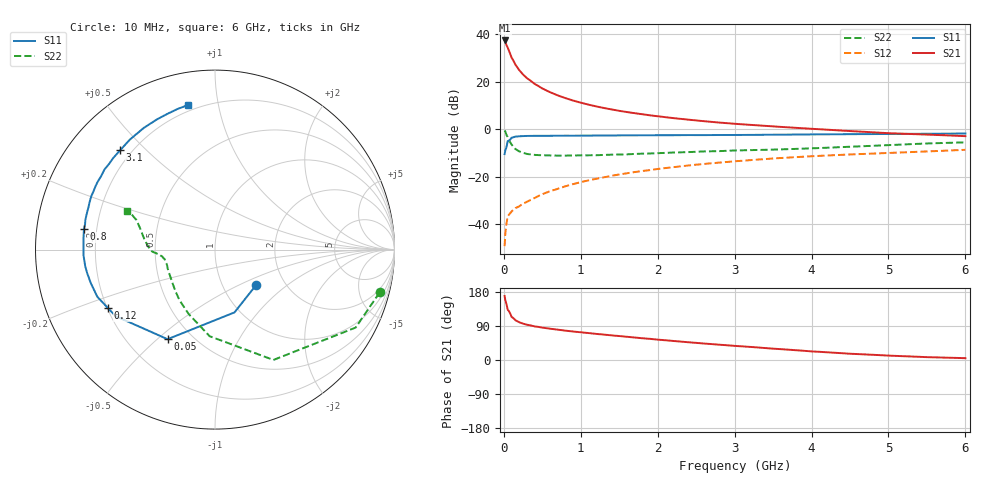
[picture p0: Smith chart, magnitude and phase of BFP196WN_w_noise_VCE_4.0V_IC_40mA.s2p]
! Infineon Technologies  Discrete & RF Semiconductors
! BFP196WN
! VCE =  4.0 V,  IC =  40 mA
! Common Emitter S-Parameters:  Jan 2017
# GHz  S  MA  R  50
!  f  S11  S21  S12  S22
! GHz  MAG  ANG  MAG  ANG  MAG  ANG  MAG  ANG
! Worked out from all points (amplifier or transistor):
!   77 points, 10 MHz to 6 GHz, reference 50 ohm
!   highest |S21| = 37.4 dB at 10 MHz (marker M1)
!   |S21| within 3 dB of that: start of sweep to 49.41 MHz
!   unconditionally stable (mu >= 1): 666.6 MHz to 2.707 GHz
!   at 130 MHz: K = 0.50, MSG = 31.1 dB, |S12| = -33.7 dB
!   at 2.2 GHz: K = 1.02, MAG = 9.4 dB, |S12| = -15.9 dB
!   at 6 GHz: K = 0.91, MSG = 2.9 dB, |S12| = -8.6 dB
!   lowest NFmin = 1.16 dB at 450 MHz
!   S11 on the Smith chart (normalised r, x): 10 MHz: 1.43, -0.63; 50 MHz: 0.37, -0.54; 120 MHz: 0.20, -0.25; 800 MHz: 0.15, +0.08; 3.1 GHz: 0.16, +0.42; 6 GHz: 0.17, +0.82
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0.01  0.3027 -41.2  74.35 168.8  0.0035 81.9  0.9479 -14.6
0.02  0.3664 -72.8  68.65 157.0  0.0066 72.7  0.8961 -29.0
0.05  0.565 -117.9  52.4 132.9  0.0148 52.1  0.6957 -62.1
0.1  0.6668 -146.3  32.57 113.9  0.0187 47.4  0.4837 -93.5
0.12  0.6791 -151.2  28.71 111.0  0.0201 46.8  0.4399 -100.0
0.15  0.7065 -158.2  23.1 105.0  0.0221 46.0  0.3877 -112.2
0.2  0.7168 -165.0  17.66 99.6  0.0241 48.8  0.3454 -124.7
0.25  0.7241 -169.5  14.28 95.9  0.0274 51.4  0.3213 -133.0
0.3  0.729 -172.8  11.98 93.1  0.03 53.5  0.305 -139.9
0.4  0.7333 -177.6  9.069 88.7  0.0361 59.1  0.2913 -148.4
0.5  0.7327 178.9  7.265 85.5  0.0434 61.7  0.2862 -154.4
0.6  0.7342 176.0  6.076 82.6  0.0501 63.3  0.2838 -158.7
0.7  0.7366 173.6  5.201 80.1  0.0562 65.8  0.281 -161.6
0.8  0.7389 171.1  4.558 77.5  0.0637 66.4  0.2812 -163.7
0.9  0.7375 169.0  4.046 75.2  0.0706 66.2  0.2834 -165.7
1.1  0.7415 165.2  3.324 71.1  0.0848 66.6  0.2854 -168.7
1.5  0.7484 158.3  2.461 63.2  0.1128 65.8  0.2966 -172.6
2.1  0.7549 148.6  1.811 52.1  0.1538 62.6  0.3212 -175.8
3.1  0.7653 133.6  1.281 36.0  0.2194 54.9  0.3633 179.5
4.1  0.7865 119.1  1.009 21.6  0.2777 46.6  0.4056 169.8
5.1  0.8033 108.3  0.822 10.8  0.3244 39.1  0.475 158.9
6  0.8201 100.4  0.722 4.8  0.3724 33.0  0.5342 156.1
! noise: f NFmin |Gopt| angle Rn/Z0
0.45  1.16  0.5  -179  0.04
0.9  1.29  0.54  -173  0.05
1.9  2.21  0.68  -148  0.13
2.4  2.95  0.69  -141  0.26
